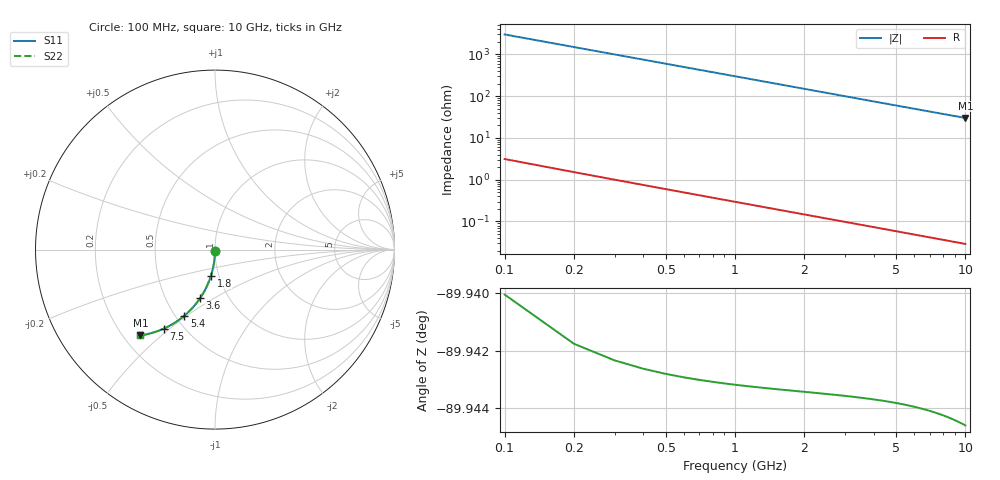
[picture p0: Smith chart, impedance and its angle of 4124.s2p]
# Hz S RI R 50.00
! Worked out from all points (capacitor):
!   100 points, 100 MHz to 10 GHz, reference 50 ohm
!   read as one part in shunt: C = 534 fF near 100 MHz
!   lowest |Z| = 30 ohm at 10 GHz (marker M1)
!   S11 on the Smith chart (normalised r, x): 100 MHz: 1.00, -0.02; 1.8 GHz: 0.92, -0.27; 3.6 GHz: 0.74, -0.44; 5.4 GHz: 0.55, -0.49; 7.5 GHz: 0.39, -0.48; 10 GHz: 0.27, -0.43
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1e8  -5.34e-05 -0.00824  0.9999 -0.00852  0.9999 -0.00852  -5.34e-05 -0.00824
2e8  -0.000272 -0.0165  0.9997 -0.017  0.9997 -0.017  -0.000272 -0.0165
3e8  -0.000632 -0.0247  0.9993 -0.0256  0.9993 -0.0256  -0.000632 -0.0247
4e8  -0.00113 -0.0329  0.9988 -0.0341  0.9988 -0.0341  -0.00113 -0.0329
5e8  -0.00177 -0.0412  0.9982 -0.0426  0.9982 -0.0426  -0.00177 -0.0412
6e8  -0.00255 -0.0493  0.9974 -0.051  0.9974 -0.051  -0.00255 -0.0493
8e8  -0.00452 -0.0657  0.9954 -0.0679  0.9954 -0.0679  -0.00452 -0.0657
1.1e9  -0.0085 -0.0899  0.9914 -0.093  0.9914 -0.093  -0.0085 -0.0899
1.4e9  -0.0137 -0.1139  0.9863 -0.1178  0.9863 -0.1178  -0.0137 -0.1139
1.8e9  -0.0224 -0.1451  0.9775 -0.1501  0.9775 -0.1501  -0.0224 -0.1451
2.1e9  -0.0302 -0.1679  0.9697 -0.1738  0.9697 -0.1738  -0.0302 -0.1679
2.5e9  -0.0423 -0.1974  0.9576 -0.2044  0.9576 -0.2044  -0.0423 -0.1974
2.9e9  -0.0561 -0.2257  0.9438 -0.2339  0.9438 -0.2339  -0.0561 -0.2257
3.4e9  -0.0756 -0.2591  0.9243 -0.2687  0.9243 -0.2687  -0.0756 -0.2591
3.6e9  -0.084 -0.2718  0.9159 -0.282  0.9159 -0.282  -0.084 -0.2718
4.3e9  -0.1157 -0.3133  0.8842 -0.3255  0.8842 -0.3255  -0.1157 -0.3133
5.1e9  -0.1555 -0.3547  0.8443 -0.3692  0.8443 -0.3692  -0.1555 -0.3547
5.4e9  -0.1711 -0.3685  0.8287 -0.3839  0.8287 -0.3839  -0.1711 -0.3685
6.7e9  -0.2414 -0.4179  0.7584 -0.4371  0.7584 -0.4371  -0.2414 -0.4179
7.5e9  -0.2852 -0.4403  0.7145 -0.4619  0.7145 -0.4619  -0.2852 -0.4403
8.4e9  -0.3338 -0.459  0.6659 -0.4833  0.6659 -0.4833  -0.3338 -0.459
1e10  -0.4156 -0.4778  0.584 -0.5069  0.584 -0.5069  -0.4156 -0.4778
